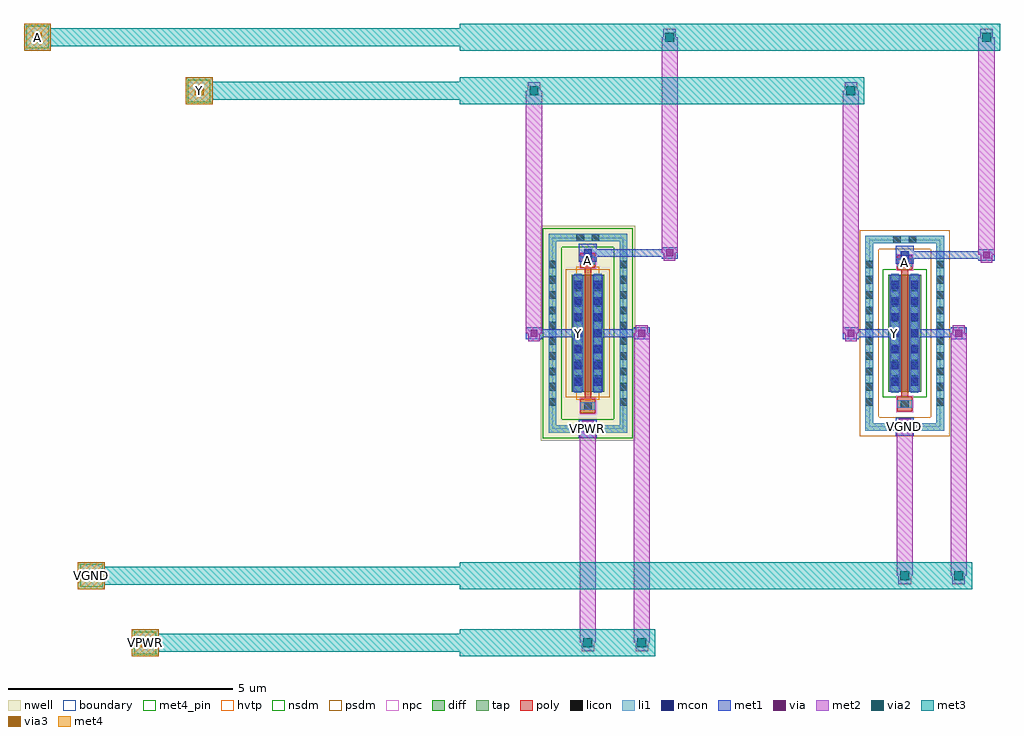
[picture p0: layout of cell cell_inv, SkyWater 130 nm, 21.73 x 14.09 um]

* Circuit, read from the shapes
.subckt cell_inv A VGND VPWR Y
XM1 VGND A Y VGND sky130_fd_pr__nfet_01v8 w=2.6 l=0.15
XM2 VPWR A Y VPWR sky130_fd_pr__pfet_01v8_hvt w=2.6 l=0.15
.ends

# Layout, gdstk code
import gdstk
lib = gdstk.Library(unit=1e-6, precision=1e-09)
def R(c, l, rs):  # rectangles x0, y0, x1, y1
    for r in rs: c.add(gdstk.rectangle(r[:2], r[2:], *l))
def A(c, l, x, y, w, h, nx, ny, dx, dy):  # array of equal rectangles
    R(c, l, [(x+i*dx, y+j*dy, x+i*dx+w, y+j*dy+h) for i in range(nx) for j in range(ny)])
def P(c, l, *ps):  # polygons
    for p in ps: c.add(gdstk.Polygon(p, *l))
nwell = (64, 20)
diff = (65, 20)
tap = (65, 44)
poly = (66, 20)
licon = (66, 44)
li1 = (67, 20)
mcon = (67, 44)
met1 = (68, 20)
via = (68, 44)
met2 = (69, 20)
via2 = (69, 44)
met3 = (70, 20)
via3 = (70, 44)
met4_pin = (71, 16)
met4 = (71, 20)
hvtp = (78, 44)
nsdm = (93, 44)
psdm = (94, 20)
npc = (95, 20)
boundary = (235, 4)

cell_inv = lib.new_cell('cell_inv')
R(cell_inv, nwell, [(21.8,14.8,23.91,19.59)])
R(cell_inv, diff, [(22.49,15.895,23.22,18.495), (29.545,15.895,30.275,18.495)])
R(cell_inv, tap, [(21.98,14.98,23.73,15.15), (29.035,15.025,30.785,15.195), (21.98,15.15,22.15,19.24), (23.56,15.15,23.73,19.24), (29.035,15.195,29.205,19.195), (30.615,15.195,30.785,19.195), (29.035,19.195,30.785,19.365), (21.98,19.24,23.73,19.41)])
R(cell_inv, poly, [(22.69,15.41,23.02,15.74), (29.745,15.455,30.075,15.785), (22.78,15.74,22.93,18.65), (29.835,15.785,29.985,18.605), (29.745,18.605,30.075,18.935), (22.69,18.65,23.02,18.98)])
A(cell_inv, licon, 21.98, 15.58, 0.17, 0.17, 1, 10, 0, 0.34)
A(cell_inv, licon, 23.56, 15.58, 0.17, 0.17, 1, 10, 0, 0.34)
A(cell_inv, licon, 29.035, 15.58, 0.17, 0.17, 1, 10, 0, 0.34)
A(cell_inv, licon, 30.615, 15.58, 0.17, 0.17, 1, 10, 0, 0.34)
A(cell_inv, licon, 22.55, 16.09, 0.17, 0.17, 1, 7, 0, 0.34)
A(cell_inv, licon, 22.99, 16.09, 0.17, 0.17, 1, 7, 0, 0.34)
A(cell_inv, licon, 29.605, 16.09, 0.17, 0.17, 1, 7, 0, 0.34)
A(cell_inv, licon, 30.045, 16.09, 0.17, 0.17, 1, 7, 0, 0.34)
R(cell_inv, licon, [(22.6,14.98,22.77,15.15), (22.94,14.98,23.11,15.15), (29.655,15.025,29.825,15.195), (29.995,15.025,30.165,15.195), (22.77,15.49,22.94,15.66), (29.825,15.535,29.995,15.705), (29.825,18.685,29.995,18.855), (22.77,18.73,22.94,18.9), (29.655,19.195,29.825,19.365), (29.995,19.195,30.165,19.365), (22.6,19.24,22.77,19.41), (22.94,19.24,23.11,19.41)])
R(cell_inv, li1, [(21.98,14.98,23.73,15.15), (29.035,15.025,30.785,15.195), (21.98,15.15,22.15,19.24), (23.56,15.15,23.73,19.24), (29.035,15.195,29.205,19.195), (30.615,15.195,30.785,19.195), (22.69,15.49,23.02,15.66), (29.745,15.535,30.075,15.705), (22.55,15.875,22.72,18.515), (22.99,15.875,23.16,18.515), (29.605,15.875,29.775,18.515), (30.045,15.875,30.215,18.515), (29.745,18.685,30.075,18.855), (29.825,18.685,29.995,19.025), (22.69,18.73,23.02,18.9), (22.77,18.73,22.94,19.07), (29.035,19.195,30.785,19.365), (21.98,19.24,23.73,19.41)])
A(cell_inv, mcon, 22.55, 16.03, 0.17, 0.17, 1, 7, 0, 0.36)
A(cell_inv, mcon, 22.99, 16.03, 0.17, 0.17, 1, 7, 0, 0.36)
A(cell_inv, mcon, 29.605, 16.03, 0.17, 0.17, 1, 7, 0, 0.36)
A(cell_inv, mcon, 30.045, 16.03, 0.17, 0.17, 1, 7, 0, 0.36)
R(cell_inv, mcon, [(22.77,14.98,22.94,15.15), (29.825,15.025,29.995,15.195), (29.825,18.855,29.995,19.025), (22.77,18.9,22.94,19.07)])
R(cell_inv, met1, [(22.655,14.865,23.055,15.265), (29.71,14.91,30.11,15.31), (22.675,14.935,23.035,15.195), (29.73,14.98,30.09,15.24), (22.52,15.895,22.75,18.495), (22.96,15.895,23.19,18.495), (29.575,15.895,29.805,18.495), (30.015,15.895,30.245,18.495), (21.475,17.065,21.835,17.325), (23.875,17.065,24.235,17.325), (28.53,17.065,28.89,17.325), (30.93,17.065,31.29,17.325), (21.655,17.11,22.635,17.28), (23.075,17.11,24.055,17.28), (28.71,17.11,29.69,17.28), (30.13,17.11,31.11,17.28), (29.71,18.74,30.11,19.14), (22.655,18.785,23.055,19.185), (31.55,18.81,31.91,19.07), (24.495,18.855,24.855,19.115), (29.91,18.855,31.73,19.025), (22.855,18.9,24.675,19.07)])
P(cell_inv, met1, [(29.91,15.025),(29.91,15.195),(29.91,15.195),(29.91,15.025)],
  [(22.855,14.98),(22.855,15.15),(22.855,15.15),(22.855,14.98)])
R(cell_inv, via, [(22.78,14.99,22.93,15.14), (29.835,15.035,29.985,15.185), (21.58,17.12,21.73,17.27), (23.98,17.12,24.13,17.27), (28.635,17.12,28.785,17.27), (31.035,17.12,31.185,17.27), (31.655,18.865,31.805,19.015), (24.6,18.91,24.75,19.06)])
R(cell_inv, met2, [(22.715,10.11,22.995,10.49), (23.915,10.11,24.195,10.49), (22.675,10.3,23.035,15.065), (23.875,10.3,24.235,17.195), (29.77,11.61,30.05,11.99), (30.97,11.61,31.25,11.99), (29.73,11.8,30.09,15.11), (30.93,11.8,31.29,17.195), (22.725,14.885,22.985,15.245), (29.78,14.93,30.04,15.29), (21.525,17.015,21.785,17.375), (23.925,17.015,24.185,17.375), (28.58,17.015,28.84,17.375), (30.98,17.015,31.24,17.375), (21.475,17.195,21.835,22.59), (28.53,17.195,28.89,22.59), (31.6,18.76,31.86,19.12), (24.545,18.805,24.805,19.165), (31.55,18.94,31.91,23.79), (24.495,18.985,24.855,23.79), (21.515,22.4,21.795,22.78), (28.57,22.4,28.85,22.78), (24.535,23.6,24.815,23.98), (31.59,23.6,31.87,23.98)])
R(cell_inv, via2, [(22.755,10.2,22.955,10.4), (23.955,10.2,24.155,10.4), (29.81,11.7,30.01,11.9), (31.01,11.7,31.21,11.9), (21.555,22.49,21.755,22.69), (28.61,22.49,28.81,22.69), (24.575,23.69,24.775,23.89), (31.63,23.69,31.83,23.89)])
R(cell_inv, met3, [(12.7,10,13.3,10.6), (20,10,24.355,10.6), (22.605,10.05,23.105,10.55), (23.805,10.05,24.305,10.55), (11.5,11.5,12.1,12.1), (20,11.5,31.41,12.1), (29.66,11.55,30.16,12.05), (30.86,11.55,31.36,12.05), (13.9,22.29,14.5,22.89), (20,22.29,29.01,22.89), (21.405,22.34,21.905,22.84), (28.46,22.34,28.96,22.84), (10.3,23.49,10.9,24.09), (20,23.49,32.03,24.09), (24.425,23.54,24.925,24.04), (31.48,23.54,31.98,24.04)])
R(cell_inv, via3, [(12.9,10.2,13.1,10.4), (11.7,11.7,11.9,11.9), (14.1,22.49,14.3,22.69), (10.5,23.69,10.7,23.89)])
R(cell_inv, met4_pin, [(12.75,10.05,13.25,10.55), (11.55,11.55,12.05,12.05), (13.95,22.34,14.45,22.84), (10.35,23.54,10.85,24.04)])
R(cell_inv, met4, [(12.7,10,13.3,10.6), (12.75,10,13.25,10.6), (11.5,11.5,12.1,12.1), (11.55,11.5,12.05,12.1), (13.9,22.29,14.5,22.89), (13.95,22.29,14.45,22.89), (10.3,23.49,10.9,24.09), (10.35,23.49,10.85,24.09)])
R(cell_inv, hvtp, [(22.6,15.715,23.11,18.675)])
R(cell_inv, nsdm, [(21.855,14.855,23.855,15.275), (21.855,15.275,22.275,19.115), (23.435,15.275,23.855,19.115), (29.42,15.77,30.4,18.62), (21.855,19.115,23.855,19.535)])
R(cell_inv, psdm, [(28.91,14.9,30.91,15.32), (28.91,15.32,29.33,19.07), (30.49,15.32,30.91,19.07), (22.365,15.77,23.345,18.62), (28.91,19.07,30.91,19.49)])
R(cell_inv, npc, [(22.67,15.39,23.04,15.76), (29.725,15.435,30.095,15.805), (29.725,18.585,30.095,18.955), (22.67,18.63,23.04,19)])
R(cell_inv, boundary, [(22.065,15.065,23.645,19.325), (29.12,15.11,30.7,19.28)])
cell_inv.add(gdstk.FlexPath([(10.6,23.79),(20,23.79)], 0.4, ends="flush", simple_path=True, layer=70, datatype=20))  # met3
cell_inv.add(gdstk.FlexPath([(11.8,11.8),(20,11.8)], 0.4, ends="flush", simple_path=True, layer=70, datatype=20))  # met3
cell_inv.add(gdstk.FlexPath([(13,10.3),(20,10.3)], 0.4, ends="flush", simple_path=True, layer=70, datatype=20))  # met3
cell_inv.add(gdstk.FlexPath([(14.2,22.59),(20,22.59)], 0.4, ends="flush", simple_path=True, layer=70, datatype=20))  # met3
cell_inv.add(gdstk.Label('VPWR', (22.855,15.065), layer=67, texttype=5))
cell_inv.add(gdstk.Label('Y', (22.635,17.195), layer=67, texttype=5))
cell_inv.add(gdstk.Label('VPWR', (23.075,17.195), layer=67, texttype=5))
cell_inv.add(gdstk.Label('A', (22.855,18.815), layer=67, texttype=5))
cell_inv.add(gdstk.Label('Y', (29.69,17.195), layer=67, texttype=5))
cell_inv.add(gdstk.Label('VGND', (30.13,17.195), layer=67, texttype=5))
cell_inv.add(gdstk.Label('VGND', (29.91,15.11), layer=67, texttype=5))
cell_inv.add(gdstk.Label('A', (29.91,18.77), layer=67, texttype=5))
cell_inv.add(gdstk.Label('A', (10.6,23.79), layer=71, texttype=5))
cell_inv.add(gdstk.Label('VGND', (11.8,11.8), layer=71, texttype=5))
cell_inv.add(gdstk.Label('VPWR', (13,10.3), layer=71, texttype=5))
cell_inv.add(gdstk.Label('Y', (14.2,22.59), layer=71, texttype=5))

lib.write_gds('cell_inv.gds')
